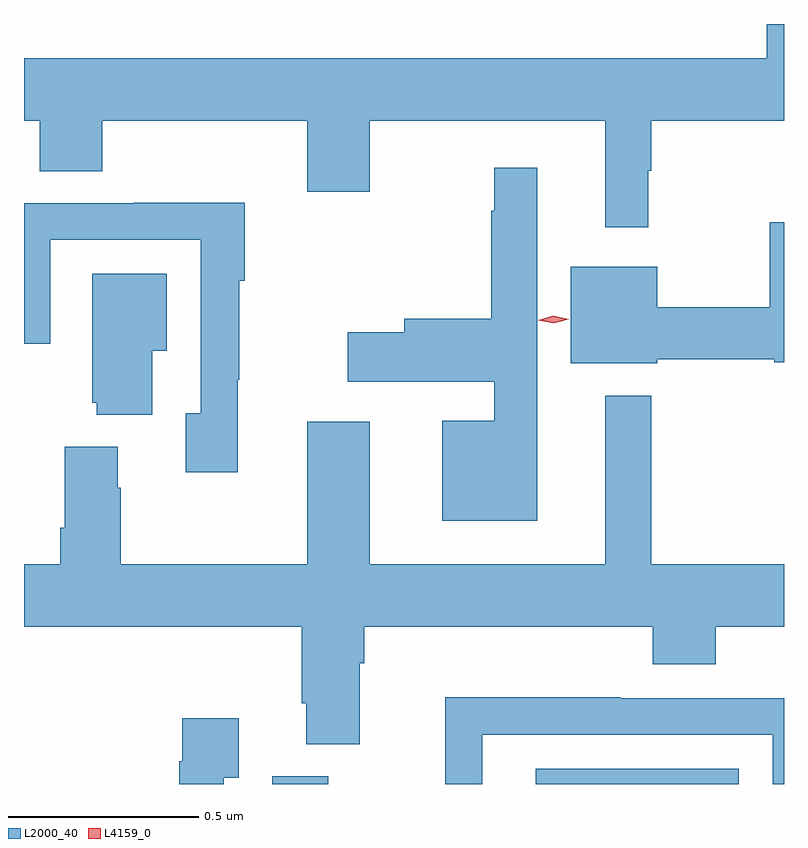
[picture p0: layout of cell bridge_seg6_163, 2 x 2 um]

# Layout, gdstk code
import gdstk
lib = gdstk.Library(unit=1e-6, precision=1e-09)
def R(c, l, rs):  # rectangles x0, y0, x1, y1
    for r in rs: c.add(gdstk.rectangle(r[:2], r[2:], *l))
def P(c, l, *ps):  # polygons
    for p in ps: c.add(gdstk.Polygon(p, *l))
L2000_40 = (2000, 40)
L4159_0 = (4159, 0)

bridge_seg6_163 = lib.new_cell('bridge_seg6_163')
R(bridge_seg6_163, L2000_40, [(572.507,974.894,572.654,974.914), (573.201,974.894,573.735,974.934)])
P(bridge_seg6_163, L2000_40, [(573.497,976.508),(573.505,976.508),(573.505,976.64),(573.854,976.64),(573.854,976.894),(573.809,976.894),(573.809,976.804),(571.854,976.804),(571.854,976.64),(571.895,976.64),(571.895,976.507),(572.06,976.507),(572.06,976.64),(572.6,976.64),(572.6,976.452),(572.764,976.452),(572.764,976.64),(573.383,976.64),(573.383,976.359),(573.497,976.359)],
  [(573.205,976.516),(573.091,976.516),(573.091,976.403),(573.084,976.403),(573.084,976.118),(572.855,976.118),(572.855,976.083),(572.706,976.083),(572.706,975.953),(573.091,975.953),(573.091,975.85),(572.954,975.85),(572.954,975.587),(573.205,975.587)],
  [(572.417,975.958),(572.42,975.958),(572.42,976.219),(572.435,976.219),(572.435,976.424),(572.143,976.424),(572.143,976.422),(571.854,976.422),(571.854,976.053),(571.923,976.053),(571.923,976.326),(572.319,976.326),(572.319,975.87),(572.279,975.87),(572.279,975.714),(572.417,975.714)],
  [(573.52,976.012),(573.828,976.012),(573.828,976.004),(573.854,976.004),(573.854,976.372),(573.817,976.372),(573.817,976.148),(573.52,976.148),(573.52,976.255),(573.293,976.255),(573.293,976.001),(573.52,976.001)],
  [(572.191,976.034),(572.23,976.034),(572.23,976.237),(572.033,976.237),(572.033,975.897),(572.045,975.897),(572.045,975.866),(572.191,975.866)],
  [(573.509,975.209),(573.674,975.209),(573.674,975.308),(573.854,975.308),(573.854,975.472),(573.505,975.472),(573.505,975.916),(573.383,975.916),(573.383,975.472),(572.764,975.472),(572.764,975.847),(572.6,975.847),(572.6,975.472),(572.109,975.472),(572.109,975.674),(572.101,975.674),(572.101,975.781),(571.961,975.781),(571.961,975.568),(571.949,975.568),(571.949,975.472),(571.854,975.472),(571.854,975.308),(572.585,975.308),(572.585,975.106),(572.597,975.106),(572.597,974.999),(572.737,974.999),(572.737,975.212),(572.75,975.212),(572.75,975.308),(573.509,975.308)],
  [(573.06,975.024),(573.825,975.024),(573.825,974.894),(573.854,974.894),(573.854,975.12),(573.425,975.12),(573.425,975.122),(572.962,975.122),(572.962,974.894),(573.06,974.894)],
  [(572.379,974.911),(572.419,974.911),(572.419,975.067),(572.271,975.067),(572.271,974.954),(572.263,974.954),(572.263,974.894),(572.379,974.894)])
P(bridge_seg6_163, L4159_0, [(573.248,976.106),(573.207,976.114),(573.207,976.115),(573.207,976.115),(573.247,976.126),(573.288,976.117),(573.288,976.117),(573.288,976.117)])

lib.write_gds('bridge_seg6_163.gds')
